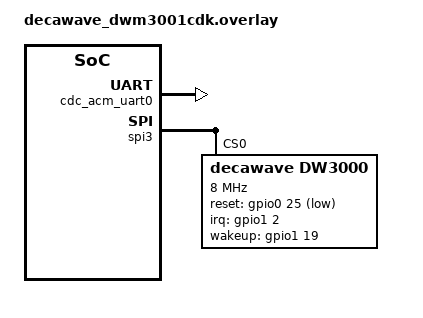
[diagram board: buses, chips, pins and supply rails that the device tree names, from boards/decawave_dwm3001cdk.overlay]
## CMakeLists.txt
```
# DWM3001CDK standalone Aliro reader — stage 0 skeleton.
#
# Purpose of this stage is a NUMBER, not a feature: link the real reader engine,
# the real CCC/FiRa responder, the real DW3110 driver and a real BLE stack into
# one nRF52833 image and see what it weighs against the 480 KB the single-image
# partition layout gives us.
#
# woz_uwb and deps/dw3000 come in as Zephyr modules because they carry Kconfig
# gating and -Wl,--wrap link flags. modules/woz_aliro's reader core is listed
# directly here, the way ports/nrf5340dk/on_target_ec does, so the nRF5340 build
# that consumes that module through CONFIG_WOZ_ALIRO_STACK stays untouched.
cmake_minimum_required(VERSION 3.20.0)

get_filename_component(REPO_ROOT "${CMAKE_CURRENT_LIST_DIR}/../../.." ABSOLUTE)
# modules/woz_aliro is listed for its Kconfig alone: the reader sources use the
# LOG_MODULE the `module = WOZ_ALIRO` template declares, so CONFIG_WOZ_ALIRO_LOG_LEVEL
# has to exist. Its CMakeLists is gated on CONFIG_WOZ_ALIRO_STACK, which stays n
# here, so it contributes no sources and the nRF5340 build is unaffected.
list(APPEND ZEPHYR_EXTRA_MODULES
	"${REPO_ROOT}/modules/woz_aliro"
	"${REPO_ROOT}/modules/woz_matter"
	"${REPO_ROOT}/modules/woz_uwb"
	"${REPO_ROOT}/deps/dw3000")

find_package(Zephyr REQUIRED HINTS $ENV{ZEPHYR_BASE})
project(aliro_reader_dwm3001cdk)

# APPROTECT must never be locked on this board. SystemInit() re-asserts the lock
# on every boot and the only way out is `nrfjprog --recover`, which mass-erases
# flash AND UICR -- taking settings_storage at 0x7e000 with it, and with that the
# reader private key and every iPhone key already provisioned against this board.
#
# This is the configure-time half of the guard: it fails the build of THIS image
# before a hex exists. scripts/check-approtect.sh is the other half and is the
# one that covers MCUboot, whose config lives outside this CMakeLists entirely.
# Both are needed -- the setting can arrive from a board defconfig or an SoC
# default that no grep of this tree would find, which is why the check that
# matters reads the GENERATED .config.
if(CONFIG_NRF_APPROTECT_LOCK OR CONFIG_NRF_SECURE_APPROTECT_LOCK)
	message(FATAL_ERROR
		"APPROTECT lock is enabled for this image. Refusing to build.\n"
		"  CONFIG_NRF_APPROTECT_LOCK        = ${CONFIG_NRF_APPROTECT_LOCK}\n"
		"  CONFIG_NRF_SECURE_APPROTECT_LOCK = ${CONFIG_NRF_SECURE_APPROTECT_LOCK}\n"
		"Locking is a one-way door for this board's DATA: recovering debug "
		"access costs a mass erase of flash and UICR, which destroys "
		"settings_storage and the reader identity. Export it first with "
		"`aliro export yes` if you genuinely intend this.")
endif()

set(ALIRO "${REPO_ROOT}/modules/woz_aliro")

target_sources(app PRIVATE
	src/main.c
	# Platform seams the reader engine links against. Stage 0 fills them with
	# the smallest thing that keeps the call graph honest; the real Zephyr BLE
	# transport is stage 4 and the settings-backed store is stage 1.
	src/aliro_ble_zephyr.c
	src/aliro_prov_settings.c
	# Reader engine.
	${ALIRO}/src/aliro_reader.c
	${ALIRO}/src/aliro_ranging.c
	${ALIRO}/src/aliro_apdu.c
	${ALIRO}/src/aliro_crypto.c
	${ALIRO}/src/aliro_hash.c
	${ALIRO}/src/aliro_prim_psa.c
	${ALIRO}/src/aliro_advtag.c
	${ALIRO}/src/aliro_prov.c
	${ALIRO}/src/aliro_lat.c
	${ALIRO}/src/aliro_rssi_gate.c
	${ALIRO}/src/aliro_approach.c
)
# Provisioning console (USB CDC-ACM, provisioning mode only).
target_sources_ifdef(CONFIG_ALIRO_PROV_CONSOLE app PRIVATE src/prov_shell.c)
# Measurement only; CONFIG_ALIRO_THREAD_GATE defaults n so this is absent from
# every shipping image.
target_sources_ifdef(CONFIG_ALIRO_THREAD_GATE app PRIVATE src/thread_gate.c)
target_sources_ifdef(CONFIG_ALIRO_CASE_BENCH app PRIVATE src/case_bench.c)
target_sources_ifdef(CONFIG_ALIRO_MATTER_BLE app PRIVATE src/matter_ble_zephyr.c
                                                          src/matter_commission.c
                                                          src/matter_fab_settings.c
                                                          src/matter_thread_port.c)

# CONFIG_MBEDTLS_MEMORY_DEBUG=y is a NO-OP in this build and sets no define.
# nrf_security only wires that symbol through configs/legacy_crypto_config.h.template
# (`#cmakedefine MBEDTLS_MEMORY_DEBUG`, line 1268); a PSA-only build
# (CONFIG_OBERON_ONLY_PSA_ENABLED) generates nrf-config.h from a different
# template that has no slot for it, so the Kconfig is accepted and silently
# dropped. The app then compiles against a declaration the library never
# defined and the link fails on mbedtls_memory_buffer_alloc_max_get.
#
# Define it for every target instead. Safe because the only struct it changes,
# buffer_alloc_ctx, is file-local to mbedtls/library/memory_buffer_alloc.c, so
# there is no layout to get out of step across compilation units.
if(CONFIG_ALIRO_HEAP_PROBE)
	zephyr_compile_definitions(MBEDTLS_MEMORY_DEBUG)
endif()
target_include_directories(app PRIVATE ${ALIRO}/include ${ALIRO}/src)
```

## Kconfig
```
# Copyright (c) 2026 asxeem
# SPDX-License-Identifier: ISC
#
# The reader identity used to arrive here as a build-time string
# (CONFIG_ALIRO_PROV_SEED_HEX), which put a reader private key into every image
# and made the firmware unshareable. It is now per-device data in the settings
# store, typed in over the USB console in provisioning mode, so there is
# deliberately no knob left that can put a key back into a build.

config ALIRO_PROV_CONSOLE
	bool "USB CDC-ACM provisioning console (SW2 held through reset)"
	default y
	help
	  The runtime provisioning path: hold SW2 through reset and the board comes
	  up with its radios down and an `aliro` console on the nRF52833's USB port.
	  Costs 44,288 B flash and 19,648 B RAM, measured.

	  Turn it off for a build that gets its identity some other way -- a Matter
	  node self-provisions from Apple Home, which makes `aliro import`
	  redundant, and reader + console + Thread overflows RAM by 1,752 bytes on
	  this part, so the two cannot coexist.

# These follow the console option rather than sitting unconditionally in
# prj.conf, because a .conf file cannot make an assignment conditional: with
# CONFIG_SHELL=n the shell assignments become unsatisfiable and NCS aborts the
# build on the Kconfig warning. Defaults here are parsed before Kconfig.zephyr,
# so they win over the upstream ones.
if ALIRO_PROV_CONSOLE

config USB_DEVICE_STACK
	default y

config USB_CDC_ACM
	default y

config USB_DEVICE_MANUFACTURER
	default "openaliro"

config USB_DEVICE_PRODUCT
	default "openaliro reader (provisioning)"

config SHELL
	default y

config SHELL_BACKEND_SERIAL
	default y

# A full APRV blob is 476 bytes = 952 hex characters plus the command word; the
# 256-byte default line buffer would silently truncate an import.
config SHELL_CMD_BUFF_SIZE
	default 1152

# import/erase commit through a software P-256 derive. Measured peak 2580 B, so
# the 2048 default faulted the shell thread via the MPU stack guard, which
# presents as a live USB device with a dead console rather than as a crash.
config SHELL_STACK_SIZE
	default 4096

# One import line is 577 characters; the 64-byte default is a single USB bulk
# packet and drops characters mid-paste.
config SHELL_BACKEND_SERIAL_RX_RING_BUFFER_SIZE
	default 1280

endif # ALIRO_PROV_CONSOLE

config ALIRO_PROV_CLEAR_ON_BOOT
	bool "Erase the stored Aliro identity at boot"
	default n
	help
	  Deletes the `aliro/prov` settings key before anything reads it, so the
	  board comes up on the DEV identity with no trust anchors, exactly as it
	  was before it was first provisioned.

	  The Matter path needs a way back. A board provisioned by one home keeps
	  that identity across a reflash, and on 2026-08-02 a re-added accessory
	  was observed getting neither SetAliroReaderConfig nor SetCredential --
	  the stale anchor then rejected the key the phone presented, one step
	  from the grant. Whether Apple skips provisioning BECAUSE the reader
	  reports the deleted home's identity is unconfirmed; this is the knob
	  that lets the question be asked.

	  `west flash --erase` clears it too, and also destroys the SRP client
	  key, which costs up to 14 days of Thread host-name ownership.

	  It erases on EVERY boot, including the one right after Apple provisions
	  a new identity. Flash it once, then flash an image without it.

config ALIRO_FACTORY_RESET_BUTTON
	bool "Factory reset when SW2 is held through reset"
	default y
	help
	  Erases the stored reader identity, every trust anchor and the Matter
	  fabrics when the sw0 alias (SW2, P0.02) is held at boot, then carries
	  on booting -- so the board comes back commissionable.

	  This is not a convenience. A commissioning that installs a fabric and
	  then times out leaves that fabric stored, the advert gate switches to
	  the Aliro reader payload, and the controller can neither discover the
	  node nor open a commissioning window on an accessory it has already
	  forgotten. Without this button that board needs a debugger, and a user
	  does not have one.

	  Held through reset rather than long-pressed while running: it matches
	  the provisioning console's idiom on this same button, needs no timer
	  or thread on a part already at 96% RAM, and cannot fire during a
	  walk-up. led0 blinks to confirm the hold registered.

	  OpenThread's settings are left alone -- see aliro_prov_erase() for the
	  14-day SRP name lease that erasing them costs.

config ALIRO_MATTER_CLEAR_ON_BOOT
	bool "Erase the stored Matter fabrics at boot"
	depends on ALIRO_MATTER_BLE
	default n
	help
	  Deletes the `mfab/*` settings keys before they are read, so the board
	  comes up with no fabric and advertises commissionable.

	  The other half of a factory reset, and the reason to prefer this pair
	  over `west flash --erase`: together they clear everything a controller
	  can see, while leaving OpenThread's own settings alone. The SRP client
	  key lives there, the SRP host name is the factory EUI-64 and survives
	  an erase either way, and name ownership is first-come-first-served BY
	  KEY -- so an erase asks for the same name with a new key and is refused
	  with OT_ERROR_DUPLICATED until the border router's key lease expires,
	  up to 14 DAYS. Thread attaches, SRP never registers, and the
	  commissioner hangs on "Adding to Home" with nothing to say why.

	  Same caveat as ALIRO_PROV_CLEAR_ON_BOOT: it erases on EVERY boot.
	  Flash it once, then flash an image without it.

config ALIRO_THREAD_GATE
	bool "Stage 0 contention gate: bring Thread up alongside the reader"
	# NET_L2_OPENTHREAD, not bare OPENTHREAD. The 802.15.4 driver class is
	# gated on NETWORKING (zephyr/drivers/ieee802154/Kconfig), so a
	# CONFIG_NETWORKING=n build links the Thread stack with no radio under it
	# and this gate measures nothing while looking like it works.
	depends on NET_L2_OPENTHREAD
	select OPENTHREAD_MANUAL_START
	default n
	help
	  Measurement only, never a shipping option. Starts OpenThread next to the
	  running reader so ranging can be measured while an 802.15.4 stack shares
	  the M4 and the 2.4 GHz radio. Commit 5b8d06b won the walk-up by cutting
	  FINAL->arm latency to 0.66 ms, and Thread lands on that margin; this
	  answers whether Matter on this board is possible at all before any Matter
	  code is written. See ports/dwm3001cdk/app/src/thread_gate.c.

config ALIRO_CASE_BENCH
	bool "Stage 0a: measure what a Matter CASE responder costs"
	depends on INIT_STACKS && THREAD_STACK_INFO
	default n
	help
	  Measurement only. Every RAM figure for a hand-written Matter node is an
	  estimate, and the one that decides the plan -- the peak of the Matter
	  thread -- cannot be read with `kernel thread stacks`, because that shows
	  threads which exist and this one does not yet. Runs the responder half of
	  CASE (ECDH, an ECDSA sign, three ECDSA verifies, two HKDFs, two AES-CCMs)
	  on a dedicated thread beside the live reader and reports the stack peak,
	  the static working set, the mbedTLS heap draw and the elapsed time.

	  P-256 is what costs stack here: no CryptoCell on this part, so PSA runs
	  on the software oberon driver and every curve operation runs on the
	  calling thread. Needs CONFIG_PSA_WANT_ALG_CCM, which the reader does not
	  otherwise enable. See ports/dwm3001cdk/app/src/case_bench.c.

config ALIRO_CASE_BENCH_PERIOD_MS
	int "Repeat the CASE round every N ms (0 = measure once and stop)"
	depends on ALIRO_CASE_BENCH
	default 0
	help
	  0 measures once, which is all the sizing question needs. Non-zero turns
	  the bench into a contention test: CASE keeps running while you walk up,
	  so a real unlock has to complete against ~262 ms of P-256 per round on
	  the same core. The reader's FINAL->arm margin is 0.66 ms, so this asks
	  whether running the Matter thread at a lower priority is by itself
	  enough to keep ranging alive. Small values are harsher; 50 leaves the
	  core almost permanently busy.

config ALIRO_HEAP_PROBE
	bool "Report the mbedTLS heap high-water mark"
	depends on MBEDTLS_MEMORY_DEBUG
	default n
	help
	  Measurement only. CONFIG_MBEDTLS_HEAP_SIZE is 16384 here and halving it
	  was 63% of the RAM freed for a future Matter node, so it needs a number
	  rather than an argument. The argument says the cut is safe: this build is
	  OBERON_ONLY_PSA_ENABLED with no MBEDTLS_BIGNUM_C or ECP_C compiled in, so
	  ECDH/ECDSA run in driver stack buffers and only PSA key-slot material is
	  ever mbedtls_calloc'd. That is an inference from Kconfig, which is exactly
	  the reasoning that produced the bare-OpenThread mistake, so measure it.

	  Reports at two points, because the console and the reader never run at the
	  same time: `aliro heap` in provisioning mode, covering the import path's
	  P-256 derive, and an RTT line at each unlock in run mode, covering a whole
	  walk-up. Both read a peak accumulated since boot, so the walk-up figure
	  includes BLE pairing and the Aliro exchange, not just the ranging.

	  Needs CONFIG_MBEDTLS_MEMORY_DEBUG=y, which is not a shipping setting.

source "Kconfig.zephyr"

config ALIRO_MATTER_BLE
	bool "Matter commissioning transport: the 0xFFF6 GATT service over BTP"
	# The framing itself is in modules/woz_matter and has no Zephyr
	# dependency; this brings in the Zephyr-side adapter that carries it.
	depends on BT_PERIPHERAL
	select WOZ_MATTER
	default n
	help
	  Compile the 0xFFF6 service (C1 write, C2 indicate) and the BTP glue
	  that turns it into a Matter message transport.

	  This does not start advertising. The reader owns the single advertising
	  set, and asks for the commissionable payload only while it has no
	  identity of its own -- see ALIRO_MATTER_DISCRIMINATOR.

if ALIRO_MATTER_BLE

config ALIRO_MATTER_DISCRIMINATOR
	hex "Matter setup discriminator, 12-bit"
	default 0xF00
	range 0x000 0xFFF
	help
	  Goes out in the commissionable advertisement, and a commissioner uses
	  it to pick this device out of everything else advertising 0xFFF6. It
	  must match the discriminator encoded in the setup code the user enters
	  or the phone will never connect.

	  0xF00 with passcode 20202021 is the pairing CHIP's own test harnesses
	  use, which makes a bench commissioner work with no extra setup.

config ALIRO_MATTER_VENDOR_ID
	hex "Matter vendor ID"
	default 0xFFF1
	help
	  0xFFF1 is CHIP's test vendor. A real product needs an allocated one;
	  a phone will commission a test VID but marks the result uncertified.

config ALIRO_MATTER_PRODUCT_ID
	hex "Matter product ID"
	default 0x8001

config ALIRO_MATTER_SPAKE2P_VERIFIER
	string "SPAKE2+ verifier, hex: w0 (32 B) then L (65 B)"
	default "b96170aae803346884724fe9a3b287c30330c2a660375d17bb205a8cf1aecb350457f8ab79ee253ab6a8e46bb09e543ae422736de501e3db37d441fe344920d09548e4c18240630c4ff4913c53513839b7c07fcc0627a1b8573a149fcd1fa466cf"
	help
	  What the device stores INSTEAD of the setup passcode. Someone who reads
	  this out of flash can verify a commissioner that knows the passcode and
	  cannot impersonate one, which is the point of SPAKE2+'s augmented form.

	  Generate with scripts/spake2p_verifier.py. It must be derived from the
	  same passcode, salt and iteration count as the two options below --
	  nothing on the device can check that it was, and a mismatched set fails
	  at Pake3 looking exactly like a wrong passcode.

	  The default is CHIP's own published test verifier for passcode 20202021
	  (TestOnlyCommissionableDataProvider.h:74-79), so a stock commissioner
	  pairs with the standard setup code out of the box. Ship a real one.

config ALIRO_MATTER_SETUP_PASSCODE
	int "Setup passcode the verifier above was derived from"
	default 20202021
	range 1 134217727
	help
	  The number a user would type into Apple Home, and the ONLY symbol here
	  that no C file reads. It is not compiled in: a Kconfig value reaches the
	  image by being referenced, and nothing references this one, so the
	  passcode stays out of the firmware exactly as the augmented SPAKE2+ form
	  intends.

	  It is here because the setup code cannot be recovered from the verifier,
	  and a build that cannot say how to commission itself is a build nobody
	  can use. `make cdk-aliro-matter-thread` prints the 11-digit manual code
	  by reading this and the discriminator out of .config -- after
	  re-deriving the verifier from it and refusing to print anything if the
	  two disagree, which is the drift check the device itself cannot do.

	  Change it and CONFIG_ALIRO_MATTER_SPAKE2P_VERIFIER together, both from
	  one run of scripts/spake2p_verifier.py --passcode <p>.

config ALIRO_MATTER_SPAKE2P_SALT
	string "SPAKE2+ salt, hex (16 to 32 bytes)"
	default "5350414b453250204b65792053616c74"
	help
	  Sent to the commissioner in PBKDFParamResponse so it can repeat the
	  derivation. The default is CHIP's test salt, the ASCII "SPAKE2P Key Salt".

config ALIRO_MATTER_SPAKE2P_ITERATIONS
	int "SPAKE2+ PBKDF2 iterations"
	default 1000
	range 1000 100000
	help
	  Also sent in PBKDFParamResponse. Costs the COMMISSIONER time, not this
	  device: the verifier is derived off-device, so a high count is paid by
	  the phone once per pairing.

config ALIRO_MATTER_BLE_RX_BUF
	int "Inbound Matter message ceiling, bytes"
	default 1024
	help
	  Size of the BTP reassembly area, and therefore the largest message
	  this node will accept. A peer declaring more than this in its Start
	  fragment is refused before a byte is copied, so setting it low costs
	  compatibility, never memory safety.

config ALIRO_MATTER_BLE_WINDOW
	int "Largest BTP receive window we will grant"
	default 4
	range 2 8

config ALIRO_MATTER_BLE_WQ_STACK
	int "Matter work queue stack, bytes"
	default 4096
	help
	  PROVISIONAL. Two stack sizes in this project were guessed low and both
	  faulted on hardware, so size this from CONFIG_THREAD_ANALYZER_AUTO
	  output rather than by estimate.

	  Raised from 2048 when PASE was wired up, because handling Pake1 is by
	  far the deepest thing this queue does: a 128-byte reply buffer, then
	  matter_pase_sm.c's frame holding pA, pB, Z and V (4 x 65 B) and a
	  SPAKE2+ result, then oberon's P-256 scalar multiplication underneath
	  all of it. That is an argument, not a measurement, which is exactly the
	  reasoning the note above says not to trust -- so measure it and trim.

config ALIRO_MATTER_BLE_WQ_PRIO
	int "Matter work queue thread priority"
	default 10
	help
	  Must stay BELOW whatever arms the DW3110 reply. Stage 0 measured a CASE
	  handshake at 262.7 ms of solid CPU against a 0.66 ms FINAL->arm margin,
	  and ranging survived only because the load sat at a lower priority.

module = ALIRO_MATTER_BLE
module-str = matter_ble
source "subsys/logging/Kconfig.template.log_config"

endif # ALIRO_MATTER_BLE
```

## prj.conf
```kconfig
# DWM3001CDK standalone Aliro reader.
#
# The whole file is written against one constraint: 480 KB of code space, from
# the single-image partition layout in boards/decawave_dwm3001cdk.overlay. The
# stock board map would have given the app 224 KB, which is not enough. Every
# "=n" below is load-bearing, not tidiness.

CONFIG_SIZE_OPTIMIZATIONS=y

# ---- BLE: peripheral only, one connection, no bonding -----------------------
# Aliro runs its own application-layer secure channel over the L2CAP CoC, so
# BLE pairing/bonding buys nothing and costs both flash and a walk-up prompt.
# The shipped ESP32-S3 reader is unpaired for the same reason and unlocks a
# real iPhone Wallet key (docs/esp32-gotchas.md section 10, 2026-07-20).
CONFIG_BT=y
CONFIG_BT_PERIPHERAL=y
CONFIG_BT_CENTRAL=n
CONFIG_BT_OBSERVER=n
CONFIG_BT_BROADCASTER=y
CONFIG_BT_MAX_CONN=1
CONFIG_BT_MAX_PAIRED=0
# SMP is compiled in only because Zephyr makes L2CAP CoC depend on it
# (zephyr/subsys/bluetooth/host/Kconfig.l2cap:49) — NimBLE does not, which is
# why the ESP32 port never needed this. It is never exercised: the GATT
# characteristics carry no _ENC/_AUTHEN permission, the L2CAP server sits at
# BT_SECURITY_L1, and nothing calls bt_conn_set_security. So the reader still
# never asks a phone to pair, which is the property the live-iPhone unlock
# depends on. Costed at stage 0 rather than assumed away.
CONFIG_BT_SMP=y
CONFIG_BT_BONDABLE=n
CONFIG_BT_SIGNING=n
CONFIG_BT_GATT_CACHING=n
CONFIG_BT_GATT_DYNAMIC_DB=n
CONFIG_BT_DEVICE_NAME="openaliro"

# L2CAP CoC carries the Aliro transaction. 512-byte SDUs match the ESP port.
CONFIG_BT_L2CAP_DYNAMIC_CHANNEL=y
CONFIG_BT_L2CAP_TX_MTU=512
# Sized for a PDU, not an SDU. The host's HCI receive pool is UNIFIED and gives
# every buffer the largest of the ACL and event sizes (buf.h:165, buf.h:175), so
# a 527 B ACL buffer made all twelve cost 527 B: 6,384 B measured in .bss for a
# geometry only one of them needed. Nothing here reassembles into that pool --
# coc_alloc_buf() hands the host an s_coc_rx_pool buffer of its own and Zephyr
# builds the SDU there. At 255 the MPS falls to ~251, a 512 B SDU rides three
# PDUs instead of one, and the pool costs 3,060 B. The price is two extra
# connection events per Aliro APDU, which is nothing against a walk-up. BTP is
# untouched: it rides GATT at an ATT MTU of 247, which still fits one PDU.
CONFIG_BT_BUF_ACL_RX_SIZE=255
CONFIG_BT_BUF_ACL_TX_SIZE=251
# NOT raised, and worth a line so it is not tried again. CONFIG_BT_BUF_EVT_RX_SIZE
# cannot change what the controller checks: hci_driver.c compares against
# HCI_RX_BUF_SIZE = BT_BUF_RX_SIZE = MAX(ACL_RX_SIZE + 4, EVT_RX_SIZE + 2), which
# the 255 above already fixes at 259. Measured: raising it to 255 moved nothing
# and cost 752 B of RAM, a quarter of what this image has left.
CONFIG_BT_EATT=n

# ---- crypto -----------------------------------------------------------------
# nRF52833 has no CryptoCell, so PSA lands on the software nrf_oberon backend.
# That is a speed and flash cost, not a blocker. Same PSA_WANT set the nRF5340
# on-target EC self-test proved (ports/nrf5340dk/on_target_ec/prj.conf).
CONFIG_NRF_SECURITY=y
CONFIG_MBEDTLS_PSA_CRYPTO_C=y
CONFIG_MBEDTLS_ENABLE_HEAP=y
# MEASURED, not argued. 16384 was a guess carried from the ESP port and it was
# the largest single object in .bss. With ALIRO_HEAP_PROBE the peak across boot,
# PASE and a full CASE handshake is 228 B in 11 blocks -- reproduced on two
# independent runs, the second on a fully erased board with a new SRP key and a
# new node id. The Kconfig help for ALIRO_HEAP_PROBE predicted this: the build
# is OBERON_ONLY_PSA_ENABLED with no MBEDTLS_BIGNUM_C or ECP_C, so ECDH and
# ECDSA run in driver stack buffers and only PSA key-slot material is ever
# mbedtls_calloc'd.
#
# 1024 keeps 4.5x the measured peak, and it is not a fresh guess: the reader
# build was rebuilt at exactly this value and a live iPhone still unlocked, on a
# fresh session, for a saving of 15,360 B. CASE's own peak is 380 B, measured by
# ALIRO_CASE_BENCH, so 1024 covers both users of this heap with room over.
#
# This line used to carry a caution -- "NOT cut to peak+2048: the one path this
# image cannot exercise is an Aliro unlock, because a Matter build carries no
# reader identity". That premise expired on 2026-08-02, when Apple Home began
# provisioning the reader itself and this image started doing full walk-up
# unlocks. The path the caution was about is now exercised by the very walk-up
# that validates every other RAM change, which is what makes the cut checkable
# rather than merely argued.
CONFIG_MBEDTLS_HEAP_SIZE=1024

CONFIG_PSA_WANT_ALG_ECDSA=y
CONFIG_PSA_WANT_ALG_ECDH=y
CONFIG_PSA_WANT_KEY_TYPE_ECC_KEY_PAIR_GENERATE=y
CONFIG_PSA_WANT_KEY_TYPE_ECC_KEY_PAIR_IMPORT=y
CONFIG_PSA_WANT_KEY_TYPE_ECC_KEY_PAIR_EXPORT=y
CONFIG_PSA_WANT_KEY_TYPE_ECC_KEY_PAIR_DERIVE=y
CONFIG_PSA_WANT_KEY_TYPE_ECC_PUBLIC_KEY=y
CONFIG_PSA_WANT_ECC_SECP_R1_256=y
CONFIG_PSA_WANT_ALG_SHA_256=y
# No PSA_WANT_ALG_HKDF here on purpose. It depends on PSA_WANT_ALG_HMAC, which
# this image does not enable, so assigning it only produced a Kconfig warning
# and the value n -- psa_key_derivation_setup() returns PSA_ERROR_NOT_SUPPORTED.
# Nothing missed it: key derivation goes through aliro_hkdf()
# (modules/woz_aliro/src/aliro_hash.c), pure C11 and already linked. Turning the
# PSA one on would cost flash for a second implementation of RFC 5869.
CONFIG_PSA_WANT_ALG_CMAC=y
CONFIG_PSA_WANT_ALG_ECB_NO_PADDING=y
CONFIG_PSA_WANT_ALG_GCM=y
CONFIG_PSA_WANT_KEY_TYPE_AES=y
CONFIG_PSA_WANT_GENERATE_RANDOM=y

# ---- UWB: CCC/FiRa responder on the module's own DW3110 ---------------------
CONFIG_SPI=y
# deps/dw3000/platform/dw3000_spi.c uses spi_transceive_signal (the async API),
# same as the nRF5340 build does via scripts/build.sh.
CONFIG_SPI_ASYNC=y
CONFIG_DW3000=y
CONFIG_DW3000_CHIP_DW3000=y
CONFIG_WOZ_UWB=y
CONFIG_WOZ_UWB_RESPONDER=y
# Single-core SoC: BLE shares the core with the ranging callbacks, so the live
# DS-TWR timestamps get overwritten before Final_Data is processed (km-scale
# garbage). Use the same-round snapshot latched at Final RX, like the ESP path.
CONFIG_WOZ_UWB_FINAL_SNAPSHOT=y
CONFIG_WOZ_ALIRO=y
CONFIG_WOZ_CRYPTO_PSA=y

# ---- provisioning / trust store ---------------------------------------------
# CONFIG_MPSL_TIMESLOT_SESSION_COUNT is deliberately NOT set here, and it was
# set for a while by mistake. Flash writes do go through an MPSL timeslot on this
# board (SOC_FLASH_NRF_RADIO_SYNC_MPSL), but the driver brings its OWN session:
# mpsl_init.c:205 initialises MPSL with CONFIG_MPSL_TIMESLOT_SESSION_COUNT PLUS
# CONFIG_SOC_FLASH_NRF_RADIO_SYNC_MPSL_TIMESLOT_SESSION_COUNT, and the latter
# already defaults to 1 whenever flash sync is on. Adding one here buys a second
# session context nothing opens.
CONFIG_FLASH=y
CONFIG_FLASH_MAP=y
CONFIG_NVS=y
CONFIG_SETTINGS=y
CONFIG_SETTINGS_NVS=y

# ---- provisioning console (USB CDC-ACM, provisioning mode only) --------------
# The reader identity is per-device data in the settings store, so it has to be
# typed in at runtime. RTT is output-only and the J-Link VCOM belongs to the
# probe, so the input path is the second USB port, which is wired straight to
# the nRF52833. main() calls usb_enable() ONLY when SW2 is held through reset,
# so an operational boot pays the flash for this but never runs a USB interrupt
# next to the DW3110's delayed-TX window.
CONFIG_GPIO=y
CONFIG_SERIAL=y
CONFIG_USB_DEVICE_INITIALIZE_AT_BOOT=n
# The shell and USB sizes that this console needs live in Kconfig under
# CONFIG_ALIRO_PROV_CONSOLE, with the measurement behind each one. They cannot
# sit here: a .conf assignment is unconditional, so a build that turns the
# console off (a Matter node self-provisions, and reader + console + Thread
# overflows RAM by 1,752 B anyway) would leave them unsatisfiable and NCS aborts
# on the Kconfig warning.
# Logs stay on RTT. CONFIG_LOG_MODE_MINIMAL writes straight to the console and
# does not drive backends, so a shell log backend would cost RAM and deliver
# nothing.
CONFIG_SHELL_LOG_BACKEND=n
CONFIG_SHELL_HISTORY=n
# The `aliro` command tree here is provisioning only (ports/dwm3001cdk/app/src/
# prov_shell.c). woz_uwb's console of the same name drives a radio that
# provisioning mode never starts.
CONFIG_WOZ_UWB_SHELL=n

# ---- what is deliberately absent --------------------------------------------
# Console stays on, but over RTT rather than UART (see logging below).
CONFIG_UART_CONSOLE=n
# MCUboot IS built, and this file no longer decides that: sysbuild.conf does,
# through SB_CONFIG_BOOTLOADER_MCUBOOT. Sysbuild pushes the answer down onto
# this image itself (zephyr/share/sysbuild/image_configurations/
# MAIN_image_default.cmake:8 calls set_config_bool on CONFIG_BOOTLOADER_MCUBOOT),
# and that assignment is applied AFTER prj.conf -- so a `=n` here would not win,
# it would just make this file lie about the image it describes.
#
# What it used to say, kept because the mechanism is still true and still the
# thing that surprises people: CONFIG_BOOTLOADER_MCUBOOT is what produces the
# flash map, not the DTS. With it off, Partition Manager gave `app`
# 0x0..0x7e000 (504 KB) and ignored the 224 KB dual-slot layout in the board
# DTS entirely. With it on, PM builds a bootloader map instead -- and because
# `app` no longer starts at 0 and must not swallow settings_storage, the map is
# now PINNED in pm_static.yml rather than derived. See that file for the sizes
# and boards/decawave_dwm3001cdk.overlay for why the DTS partition nodes remain
# inert either way.
#
# The application still has no SMP server: recovery lives in the bootloader,
# reachable at boot over the J-Link VCOM, and an operational image that also
# spoke mcumgr would be a second write path into its own flash for no gain.
CONFIG_MCUMGR=n

# ---- logging ----------------------------------------------------------------
# RTT, not UART: the delayed-TX reply window on this single-core part cannot
# afford a blocking console write. Minimal mode drops the deferred-logging
# machinery, which is the part that actually costs flash.
CONFIG_LOG=y
CONFIG_LOG_MODE_MINIMAL=y
CONFIG_LOG_DEFAULT_LEVEL=3
CONFIG_USE_SEGGER_RTT=y
CONFIG_RTT_CONSOLE=y
# 8 KB up-buffer, not the 1 KB default. RTT is this board's ONLY console, and
# the default policy is NO_BLOCK_SKIP: once the buffer fills, writes are
# silently DISCARDED. Boot output here exceeds 1 KB, so the default truncates
# mid-line and looks exactly like a hang -- it cost a debugging detour to learn.
# Deliberately not BLOCK_IF_FIFO_FULL: that never drops a byte, but it stalls
# the firmware forever when no debugger is draining the buffer.
CONFIG_SEGGER_RTT_BUFFER_SIZE_UP=8192

CONFIG_MAIN_STACK_SIZE=4096
CONFIG_SYSTEM_WORKQUEUE_STACK_SIZE=4096
CONFIG_HEAP_MEM_POOL_SIZE=4096
```

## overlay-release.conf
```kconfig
# Release profile for the Matter over Thread image.
#
# Build with:
#   make cdk-aliro-matter-thread RELEASE=1
#
# Everything here buys RAM or boot time by giving up ON-BOARD DEBUGGING, so do
# not flash it to a board you are still bringing up. The debug default is what
# every measurement in internal/cdk-size-baseline.md was taken against, and it
# stays the default precisely because this port is still being debugged.

# The RTT up-buffer is 8,376 B of RAM in a section of its own -- bigger than any
# single thread stack, and on the debug image bigger than the entire free
# margin. 8192 is load-bearing WHILE DEBUGGING: at 4096 the ring filled
# mid-ranging and NO_BLOCK_SKIP silently dropped the grant line, which cost a
# walk-up to diagnose. That is exactly why the ring is given up HERE and nowhere
# else. A release board has no debugger draining it, so the ring only has to
# hold enough to be worth reading if someone attaches after a fault.
#
# Consequence to accept knowingly: with 1 KB the boot log alone truncates, and
# under NO_BLOCK_SKIP it is the NEWEST writes that are discarded. On this image
# a fault therefore looks like a hang. If you are diagnosing anything, drop
# RELEASE=1 rather than raising this number here.
CONFIG_SEGGER_RTT_BUFFER_SIZE_UP=1024

# Stack painting costs no RAM -- it fills the stacks that already exist -- but it
# costs boot time on every one of the 13 of them, and it exists to be read by a
# debugger that a release board does not have. Kept ON in the debug default,
# where CONFIG_OPENTHREAD_THREAD_STACK_SIZE and CONFIG_SYSTEM_WORKQUEUE_STACK_SIZE
# are still being sized from the 0xAA runs.
CONFIG_INIT_STACKS=n
```

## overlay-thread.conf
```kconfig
# Thread on the DWM3001CDK, alongside BLE and the reader.
#
# Build with:
#   west build -b decawave_dwm3001cdk ports/dwm3001cdk/app \
#     -- -DEXTRA_CONF_FILE=overlay-thread.conf -DCONFIG_ALIRO_MATTER_BLE=y
#
# MEASURED on nRF52833, reader + Matter node + Thread MTD. RAM is still the
# binding constraint and every entry below that costs RAM says what it bought --
# but flash is no longer comfortable, and the two numbers now differ because
# MCUboot took the front of the map (see pm_static.yml):
#
#   app slot   482,816 B   0x8200..0x7e000, after mcuboot and its pad
#   flash      446,428 B   92.46% of that slot; 447,090 B once signed
#   RAM        123,944 B   94.56% of 131,072 B
#
# The figure that stood here for a long time was 415,416 B / 80.5% against a
# 516,096 B slot. Both halves of that are now wrong: the slot shrank when
# MCUboot arrived, and the image had already grown ~29 KB past 415,416 B before
# it did. It was measured on a smaller tree and was never updated, which cost a
# planning round -- 80% and 92% are different decisions. Re-measure from the
# linker's own region report, not from this comment: the exact figures above
# move by roughly a kilobyte on every merge into this branch, so treat them as
# a snapshot with a date, not as a fact about the code.

# ---- the stack ------------------------------------------------------------
CONFIG_NETWORKING=y
CONFIG_NET_IPV6=y
CONFIG_NET_UDP=y
CONFIG_NET_L2_OPENTHREAD=y
CONFIG_OPENTHREAD_MTD=y
CONFIG_OPENTHREAD_MTD_SED=y
CONFIG_OPENTHREAD_POLL_PERIOD=3000

# Matter over Thread registers its operational service with the border router
# over SRP, so this is not optional once CASE has to be reachable.
CONFIG_OPENTHREAD_SRP_CLIENT=y

# Stateless address autoconfiguration. Defaults OFF, and without it this node
# holds ONLY mesh-local and link-local addresses -- so a commissioner resolves
# its SRP name, gets an address that does not leave the Thread mesh, and hangs.
# Measured exactly that: attached as a child in 2,500 ms, then twenty seconds
# with no off-mesh-routable address, because SLAAC is what builds one from the
# prefix the border router publishes. Nothing about being ON a network makes a
# node REACHABLE on it.
CONFIG_OPENTHREAD_SLAAC=y

# Do NOT bring Thread up at boot. This node has no dataset until Apple sends
# one, and a stack that starts without credentials scans, fails, and retries
# for the whole commissioning window -- on a radio BLE is sharing.
# matter_thread_start() starts it, the moment there is something to start with.
CONFIG_OPENTHREAD_MANUAL_START=y

# 2048 here faults during the UNLOCK, immediately after SENT_AUTH0: the Aliro
# access protocol runs on this queue and its measured peak is 3,568 B. The trim
# was withdrawn once and came back in this overlay -- it cannot go below 4096.
#
# 4096 THEN FAULTED THE SAME WAY on 2026-08-02, same phase, same MPU stack
# guard, once Matter ran alongside the unlock: an operational node persists the
# trust store and services a subscription on this queue while the access
# protocol is mid-AUTH0, and 528 B of headroom did not cover the overlap.
# MEASURED 2026-08-02 from the stack paint, after a full-auth walk-up unlock on
# a commissioned node: PEAK 3,872 B of the 6,144 here, 2,272 B untouched.
# So 4096 was never comfortably right -- it left 224 B, and the two faults were
# that margin being spent by whatever else the queue was doing at the time.
# 6144 is kept rather than trimmed to ~5120 because the peak MOVES with what
# overlaps the unlock, and this is the stack that has already faulted twice.
CONFIG_SYSTEM_WORKQUEUE_STACK_SIZE=6144
CONFIG_MAIN_STACK_SIZE=4096

# TEMPORARY, for sizing the stack above. Paint only -- no analyzer thread.
#
# CONFIG_THREAD_ANALYZER_AUTO was the obvious way to read the peak and costs a
# thread and its stack, which took this image to 96.6% RAM against a 127,352 B
# figure already recorded as unrunnable. The paint is what the analyzer
# actually measures, and a debugger can read it straight out of RAM:
#
#   savebin stack.bin, <stack addr>, <size>   # addresses from zephyr.map
#   then count the leading 0xAA run; peak used = size - run
#
# So this keeps the fill, which costs nothing at runtime, and leaves the
# reading to the host. Drop CONFIG_INIT_STACKS once the number is settled.
CONFIG_INIT_STACKS=y

# The Matter Interaction Model runs on THIS stack. Datagrams arrive through the
# OpenThread UDP callback, so decrypt, decode, the cluster command, the response
# encode and the framing all happen on ot_work_q -- and at 3168 B (the NCS
# default) it overflowed at CommissioningComplete, twice, with both fabrics
# accepted and both CASE sessions up. "Stack overflow on CPU 0", a halt, and the
# phone reporting "transaction timed out" for a pairing that had in fact
# succeeded on the wire.
#
# Moving the NVS write off this thread was necessary and NOT sufficient: the IM
# path alone does not fit.
#
# MEASURED from the paint after a COMPLETE pairing -- two fabrics, two CASE
# sessions, a chunked subscription and both Aliro credentials: PEAK 3,072 B of
# the 4,096 here, 1,024 B untouched.
#
# So the 3168 default was not badly wrong, it was wrong by NINETY-SIX BYTES.
# That is the whole story of this fault: a margin thin enough that any variation
# in the path spends it, which is why the same firmware paired once and then
# halted twice in the same place. The system work queue earlier the same day was
# the same shape (3,872 B measured against 4,096 allowed). On this part a
# default is a starting point, not a size.
CONFIG_OPENTHREAD_THREAD_STACK_SIZE=4096

# ---- what is left out -----------------------------------------------------
#
# Sockets sit above UDP and a Matter node calling otUdp* never touches them.
# UDP itself has to stay: connection.c compiles under NET_IPV6, but the
# CONFIG_NET_MAX_CONN it uses depends on a transport, so NET_IPV6=y with
# NET_UDP=n does not build upstream.
CONFIG_NET_SOCKETS=n

# The USB provisioning console. A Matter node self-provisions from Apple Home,
# which is what makes `aliro import` redundant HERE and nowhere else -- the
# non-Matter reader build still needs it.
CONFIG_ALIRO_PROV_CONSOLE=n
CONFIG_SHELL=n
CONFIG_USB_DEVICE_STACK=n
CONFIG_USB_CDC_ACM=n

# ---- RAM reclamation ------------------------------------------------------
#
# Zephyr's net buffers are sized for general IP routing. This node carries one
# Matter UDP flow to one border router. Worth 3,744 B, and the worst case if
# they are too small is a dropped packet, which Matter's MRP already
# retransmits.
CONFIG_NET_BUF_RX_COUNT=8
CONFIG_NET_BUF_TX_COUNT=8
CONFIG_NET_PKT_RX_COUNT=6
CONFIG_NET_PKT_TX_COUNT=8

# CONFIG_MBEDTLS_HEAP_SIZE was on this list as "do not touch, starving it
# breaks unlocks on a path nothing exercises". It has since been MEASURED at a
# 228 B peak and now sits at 1024 in prj.conf, which is where the argument
# should have started. The caution was right about the unlock path and wrong
# about the size: measure first, and the number settles it. It went 16384 ->
# 4096 -> 1024, each step against a measurement rather than a guess.
#
# DELIBERATELY NOT REDUCED:
#
#   OpenThread and net stacks     ~2,800 B, paid for with an MPU stack-guard
#                                 fault under load -- which on this board has
#                                 already once presented as a hang. Size these
#                                 from CONFIG_THREAD_ANALYZER_AUTO, never by
#                                 estimate; two stacks in this project were
#                                 guessed low and both faulted on hardware.
#   CONFIG_NRF_802154_RX_BUFFERS  default 20, 2,580 B measured (129 B each). A
#                                 1,024 B Sigma3 arrives as ~11-12 6LoWPAN
#                                 fragments, so cutting to 8 would leave less
#                                 than one CASE message of margin on a radio
#                                 the OT thread shares with BLE and the DW3110
#                                 ISR queue.
#   OPENTHREAD_NUM_MESSAGE_BUFFERS  IMPOSSIBLE, not merely unwise. NCS pins it
#                                 at `range 64 65535` for an MTD
#                                 (nrf/subsys/net/openthread/Kconfig.defconfig)
#                                 and 64 is already the effective value, so a
#                                 lower setting aborts the build.
```

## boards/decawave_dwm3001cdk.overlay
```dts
/*
 * DWM3001CDK standalone Aliro reader — board overlay.
 *
 * Declare the DW3110 that is already wired inside the DWM3001C module. &spi3 is
 * enabled by the board with CS on P1.06; only the side-band GPIOs are ours to
 * add. Pin values are cross-checked between the upstream Zephyr board files and
 * Qorvo's own uwb_stack_llhw.cmake (DW3_QM33_SDK 1.1.1), which agree on all of:
 *   SCK P0.03 · MOSI P0.08 · MISO P0.29 · CS P1.06
 *   IRQ P1.02 · RESETn P0.25 · WAKEUP P1.19
 *
 * NOTE ON PARTITIONS. This overlay deliberately does NOT touch the flash map.
 * The board's DTS carries an MCUboot dual-slot layout whose app slot is only
 * 0x38000 (224 KB), but NCS builds this with Partition Manager, which ignores
 * the DTS partitions entirely and derives its own map. With
 * CONFIG_BOOTLOADER_MCUBOOT=n that map is:
 *
 *     app              0x00000..0x7e000   504 KB
 *     settings_storage 0x7e000..0x80000     8 KB
 *
 * Verified by building with and without a DTS partition override: partitions.yml
 * came out byte-identical both ways, as did the memory report. So a DTS override
 * here would be inert and would mislead the next reader into thinking the app
 * slot depends on it. If the map ever needs to change, add a pm_static.yml —
 * that is the knob Partition Manager actually reads.
 */

/*
 * Provisioning console. The DWM3001CDK's second USB port goes straight to the
 * nRF52833's device interface, so CDC-ACM is the board's only input path (RTT
 * is output-only and uart0 belongs to the J-Link OB's VCOM). The shell is bound
 * here rather than to uart0 so that plugging in that port is what reaches the
 * console. main() only calls usb_enable() in provisioning mode, so this node is
 * inert on an operational boot.
 */
&zephyr_udc0 {
	cdc_acm_uart0: cdc_acm_uart0 {
		compatible = "zephyr,cdc-acm-uart";
	};
};

/ {
	chosen {
		zephyr,shell-uart = &cdc_acm_uart0;
	};
};

&spi3 {
	dw3000: dw3000@0 {
		compatible = "decawave,dw3000";
		reg = <0>;
		/* The module's SPI trace is short and internal, but hold the first
		 * bring-up at the same 8 MHz the seated DWM3000EVB is proven at.
		 * Raise only with a DEV_ID read loop as evidence. */
		spi-max-frequency = <8000000>;
		reset-gpios  = <&gpio0 25 GPIO_ACTIVE_LOW>;
		irq-gpios    = <&gpio1  2 GPIO_ACTIVE_HIGH>;
		wakeup-gpios = <&gpio1 19 GPIO_ACTIVE_HIGH>;
	};
};

&gpio1 {
	status = "okay";
};
```

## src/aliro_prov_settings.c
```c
/*
 * Copyright (c) 2026 asxeem
 * SPDX-License-Identifier: ISC
 *
 * aliro_prov (Zephyr settings backend) — the DWM3001CDK twin of the ESP32
 * port's aliro_prov_nvs.c. The portable serialisation, dev fallback and trust
 * logic all live in aliro_prov.c (host-KAT'd); this file only moves that one
 * blob in and out of the settings store on `storage_partition`.
 */
#include <string.h>

#include <zephyr/logging/log.h>
#include <zephyr/settings/settings.h>

#include "aliro_prov.h"

LOG_MODULE_REGISTER(aliro_prov, CONFIG_LOG_DEFAULT_LEVEL);

#define ALIRO_PROV_KEY "aliro/prov"

static uint8_t s_blob[ALIRO_PROV_BLOB_MAX];
static size_t s_blob_len;

static int prov_set(const char *name, size_t len, settings_read_cb read_cb, void *cb_arg)
{
	ARG_UNUSED(name);

	if (len > sizeof(s_blob)) {
		return -EINVAL;
	}

	ssize_t got = read_cb(cb_arg, s_blob, len);

	if (got < 0) {
		return (int)got;
	}
	s_blob_len = (size_t)got;
	return 0;
}

SETTINGS_STATIC_HANDLER_DEFINE(aliro_prov, "aliro", NULL, prov_set, NULL, NULL);

int aliro_prov_load(struct aliro_reader_identity *id, struct aliro_trust_store *ts)
{
	int rc = settings_subsys_init();

	if (rc != 0) {
		LOG_WRN("settings init rc=%d; using DEV identity", rc);
		aliro_prov_dev_default(id, ts);
		return -1;
	}

#if IS_ENABLED(CONFIG_ALIRO_PROV_CLEAR_ON_BOOT)
	/* Before the load, not after: the point is that nothing ever sees the old
	 * blob, so the identity this boot reports is the DEV one. */
	rc = settings_delete(ALIRO_PROV_KEY);
	LOG_WRN("clear-on-boot: erased " ALIRO_PROV_KEY " (rc=%d)", rc);
#endif

	s_blob_len = 0;
	rc = settings_load_subtree("aliro");
	if (rc != 0) {
		LOG_WRN("settings load rc=%d; using DEV identity", rc);
		aliro_prov_dev_default(id, ts);
		return -1;
	}

	if (s_blob_len == 0) {
		/* Never provisioned. */
		aliro_prov_dev_default(id, ts);
		return 1;
	}

	if (aliro_prov_deserialize(s_blob, s_blob_len, id, ts) != 0) {
		LOG_WRN("stored blob malformed; using DEV identity");
		aliro_prov_dev_default(id, ts);
		return -1;
	}
	return 0;
}

int aliro_prov_erase(void)
{
	int rc = settings_subsys_init();

	if (rc != 0) {
		LOG_ERR("settings init rc=%d; nothing erased", rc);
		return rc;
	}
	rc = settings_delete(ALIRO_PROV_KEY);
	/* The rc is reported, not swallowed. A factory reset that quietly did
	 * nothing is worse than one that fails loudly: the board comes back
	 * looking reset, pairs, and then rejects the phone with the old
	 * anchors still in the store. */
	LOG_WRN("factory reset: erased " ALIRO_PROV_KEY " (rc=%d)", rc);
	return rc;
}

int aliro_prov_store(const struct aliro_reader_identity *id, const struct aliro_trust_store *ts)
{
	/*
	 * STATIC, not on the stack. ALIRO_PROV_BLOB_MAX scales with
	 * ALIRO_TRUST_MAX, and raising that 4 -> 8 put this at 864 B on a frame
	 * that also holds a 778 B struct aliro_trust_store. The result was an
	 * MPU fault through the bottom of the 4 KB main stack about four
	 * seconds into boot -- the board advertised, froze, and the phone
	 * reported "transaction timed out" with nothing in the log after the
	 * advert line.
	 *
	 * Safe as static because every caller reaches here from the reader's
	 * provisioning paths, which are serialised on s_prov_lock or run on the
	 * Matter work queue, and provisioning writes are rare besides.
	 */
	static uint8_t blob[ALIRO_PROV_BLOB_MAX];
	size_t len = 0;

	if (aliro_prov_serialize(id, ts, blob, sizeof(blob), &len) != 0) {
		return -EINVAL;
	}
	return settings_save_one(ALIRO_PROV_KEY, blob, len);
}
```

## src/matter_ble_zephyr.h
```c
/**
 * @file matter_ble_zephyr.h — the 0xFFF6 commissioning transport.
 *
 * Everything here is Zephyr-side glue. The protocol lives in
 * modules/woz_matter, which knows nothing about BLE.
 */
/* Copyright (c) 2026 asxeem
 * SPDX-License-Identifier: ISC
 */
#pragma once

#include <stddef.h>
#include <stdint.h>

#ifdef __cplusplus
extern "C" {
#endif

/**
 * A fully reassembled Matter message.
 *
 * Called on the node's own work queue, never in the BLE RX callback, so a
 * handler may take its time. @p msg points into the reassembly area and is
 * only valid until the handler returns.
 */
typedef void (*matter_ble_msg_cb)(const uint8_t *msg, size_t len);

/*
 * There is no init call. The work queue is started by SYS_INIT at APPLICATION
 * priority, because the GATT service is registered statically and the two must
 * come up together.
 */
void matter_ble_set_msg_handler(matter_ble_msg_cb cb);

/**
 * The link went away and BTP state was thrown out.
 *
 * Anything layered on top has to forget its own state too: a commissioner that
 * drops mid-PASE and reconnects is starting over, and answering its first
 * message from halfway through the old exchange would fail in a way that looks
 * like a protocol bug rather than a dropped link.
 *
 * Called from the Bluetooth callback, so do the cheap thing here and defer real
 * work to the next message.
 */
typedef void (*matter_ble_link_cb)(void);

void matter_ble_set_link_handler(matter_ble_link_cb cb);

/**
 * Fragment and indicate a Matter message.
 * @return 0, -ENOTCONN before the BTP handshake, -EAGAIN if the peer has not
 *         subscribed to C2, -EBUSY while another message is still going out.
 */
int matter_ble_send(const uint8_t *msg, size_t len);

/** UUID plus ChipBLEDeviceIdentificationInfo: what BT_DATA_SVC_DATA16 carries. */
#define MATTER_BLE_SVC_DATA_LEN 10u

/**
 * Build the commissionable-node service data element.
 *
 * This does NOT start advertising, deliberately. The reader owns the single
 * advertising set (aliro_ble_zephyr.c), and it stays that way: Zephyr's legacy
 * bt_le_adv_start API has exactly one set, and the alternative -- CONFIG_BT_EXT_ADV
 * with two sets -- measured +24,844 B of flash and +2,464 B of RAM on this board
 * before either advertiser was rewritten to use it. On a part where CASE and the
 * Interaction Model are still unbuilt, that is not a trade worth making for
 * something the protocol does not ask for: a Matter node advertises as
 * commissionable only while it has no fabric, which is exactly when this reader
 * has nothing to advertise as an Aliro reader either.
 *
 * So the reader asks for these bytes when it has no identity yet, and stops
 * asking once it has one.
 *
 * @param out receives MATTER_BLE_SVC_DATA_LEN bytes, caller-owned and required to
 *        outlive the advertisement -- bt_data holds the pointer, not a copy.
 * @return 0 or -EINVAL.
 */
int matter_ble_commissionable_svc_data(uint8_t *out, size_t cap);

#ifdef __cplusplus
}
#endif
```
